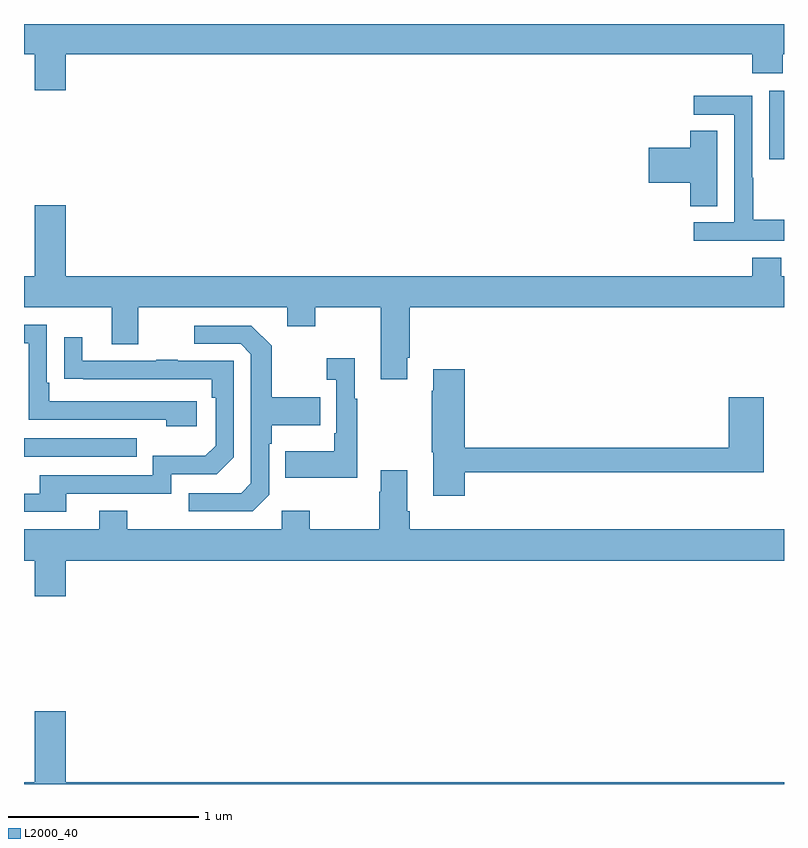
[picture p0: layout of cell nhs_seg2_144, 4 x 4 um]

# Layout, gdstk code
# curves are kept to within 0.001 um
import gdstk
lib = gdstk.Library(unit=1e-6, precision=1e-09)
def R(c, l, rs):  # rectangles x0, y0, x1, y1
    for r in rs: c.add(gdstk.rectangle(r[:2], r[2:], *l))
def P(c, l, *ps):  # polygons
    for p in ps: c.add(gdstk.Polygon(p, *l))
L2000_40 = (2000, 40)

nhs_seg2_144 = lib.new_cell('nhs_seg2_144')
R(nhs_seg2_144, L2000_40, [(117,641.523,117.593,641.619), (120.923,643.089,121,643.45)])
P(nhs_seg2_144, L2000_40, [(117.22,643.64),(120.833,643.64),(120.833,643.541),(120.993,643.541),(120.993,643.64),(121,643.64),(121,643.8),(117,643.8),(117,643.64),(117.056,643.64),(117.056,643.452),(117.22,643.452)],
  [(121,642.769),(120.837,642.769),(120.837,642.992),(120.834,642.992),(120.834,643.422),(120.525,643.422),(120.525,643.323),(120.738,643.323),(120.738,642.756),(120.525,642.756),(120.525,642.66),(121,642.66)],
  [(120.649,643.238),(120.506,643.238),(120.506,643.148),(120.288,643.148),(120.288,642.965),(120.506,642.965),(120.506,642.841),(120.649,642.841)],
  [(119.017,642.043),(119.03,642.043),(119.03,642.308),(121,642.308),(121,642.472),(120.985,642.472),(120.985,642.571),(120.833,642.571),(120.833,642.472),(117.22,642.472),(117.22,642.847),(117.056,642.847),(117.056,642.472),(117,642.472),(117,642.308),(117.461,642.308),(117.461,642.114),(117.601,642.114),(117.601,642.308),(118.385,642.308),(118.385,642.209),(118.533,642.209),(118.533,642.308),(118.877,642.308),(118.877,641.931),(119.017,641.931)],
  [(117.91,641.814),(117.133,641.814),(117.133,641.911),(117.12,641.911),(117.12,642.216),(117,642.216),(117,642.12),(117.024,642.12),(117.024,641.718),(117.749,641.718),(117.749,641.684),(117.91,641.684)],
  [(118.29,641.322),(118.29,641.591),(118.303,641.591),(118.303,641.687),(118.559,641.687),(118.559,641.835),(118.303,641.835),(118.303,642.107),(118.197,642.213),(117.897,642.213),(117.897,642.117),(118.14,642.117),(118.194,642.063),(118.194,641.382),(118.143,641.331),(117.867,641.331),(117.867,641.235),(118.203,641.235)],
  [(117.223,641.328),(117.774,641.328),(117.774,641.43),(118.014,641.43),(118.104,641.52),(118.104,642.027),(117.809,642.027),(117.809,642.032),(117.697,642.032),(117.697,642.027),(117.307,642.027),(117.307,642.151),(117.211,642.151),(117.211,641.932),(117.988,641.931),(117.988,641.834),(118.008,641.834),(118.008,641.58),(117.955,641.527),(117.678,641.527),(117.678,641.424),(117.083,641.424),(117.083,641.328),(117,641.328),(117,641.232),(117.223,641.232)],
  [(118.753,641.827),(118.741,641.827),(118.741,642.04),(118.593,642.04),(118.593,641.927),(118.644,641.927),(118.644,641.647),(118.632,641.647),(118.632,641.551),(118.375,641.551),(118.375,641.411),(118.753,641.411)],
  [(119.321,641.442),(120.893,641.442),(120.893,641.836),(120.71,641.836),(120.71,641.57),(119.321,641.57),(119.321,641.983),(119.153,641.983),(119.153,641.87),(119.146,641.87),(119.146,641.547),(119.153,641.547),(119.153,641.316),(119.321,641.316)],
  [(117.22,640.976),(121,640.976),(121,641.14),(119.03,641.14),(119.03,641.236),(119.017,641.236),(119.017,641.452),(118.877,641.452),(118.877,641.339),(118.87,641.339),(118.87,641.14),(118.503,641.14),(118.503,641.239),(118.356,641.239),(118.356,641.14),(117.543,641.14),(117.543,641.239),(117.395,641.239),(117.395,641.14),(117,641.14),(117,640.976),(117.056,640.976),(117.056,640.788),(117.22,640.788)],
  [(121,639.808),(117.22,639.808),(117.22,640.183),(117.056,640.183),(117.056,639.808),(117,639.808),(117,639.8),(121,639.8)])

lib.write_gds('nhs_seg2_144.gds')
